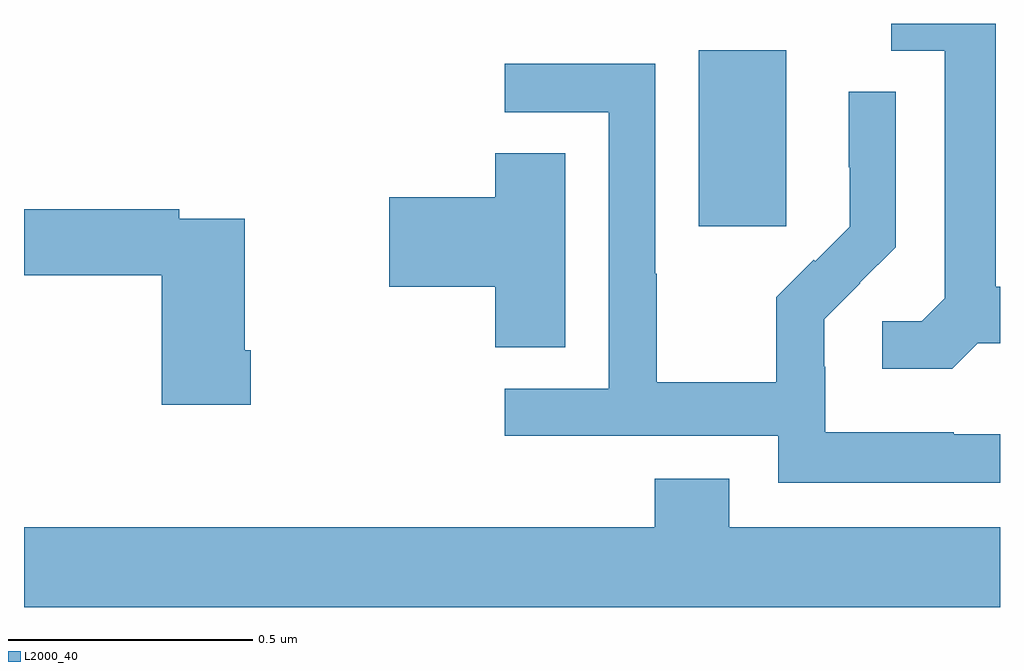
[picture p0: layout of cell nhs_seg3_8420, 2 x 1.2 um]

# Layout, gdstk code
import gdstk
lib = gdstk.Library(unit=1e-6, precision=1e-09)
def R(c, l, rs):  # rectangles x0, y0, x1, y1
    for r in rs: c.add(gdstk.rectangle(r[:2], r[2:], *l))
def P(c, l, *ps):  # polygons
    for p in ps: c.add(gdstk.Polygon(p, *l))
L2000_40 = (2000, 40)

nhs_seg3_8420 = lib.new_cell('nhs_seg3_8420')
R(nhs_seg3_8420, L2000_40, [(216.383,746.985,216.562,747.346)])
P(nhs_seg3_8420, L2000_40, [(216.954,746.745),(217,746.745),(217,746.861),(216.991,746.861),(216.991,747.4),(216.777,747.4),(216.777,747.345),(216.887,747.345),(216.887,746.837),(216.84,746.79),(216.759,746.79),(216.759,746.693),(216.902,746.693)],
  [(217,746.559),(216.905,746.559),(216.905,746.563),(216.642,746.563),(216.642,746.697),(216.64,746.697),(216.64,746.794),(216.714,746.868),(216.713,746.869),(216.786,746.942),(216.786,747.26),(216.69,747.26),(216.69,747.106),(216.692,747.106),(216.692,746.984),(216.621,746.913),(216.618,746.916),(216.541,746.839),(216.541,746.665),(216.297,746.665),(216.297,746.888),(216.294,746.888),(216.294,747.318),(215.985,747.318),(215.985,747.219),(216.198,747.219),(216.198,746.652),(215.985,746.652),(215.985,746.556),(216.546,746.556),(216.546,746.459),(217,746.459)],
  [(216.109,747.134),(215.966,747.134),(215.966,747.044),(215.748,747.044),(215.748,746.861),(215.966,746.861),(215.966,746.737),(216.109,746.737)],
  [(215.465,746.731),(215.452,746.731),(215.452,747),(215.318,747),(215.318,747.02),(215,747.02),(215,746.884),(215.282,746.884),(215.282,746.619),(215.465,746.619)],
  [(217,746.368),(216.445,746.368),(216.445,746.467),(216.293,746.467),(216.293,746.368),(215,746.368),(215,746.204),(217,746.204)])

lib.write_gds('nhs_seg3_8420.gds')
